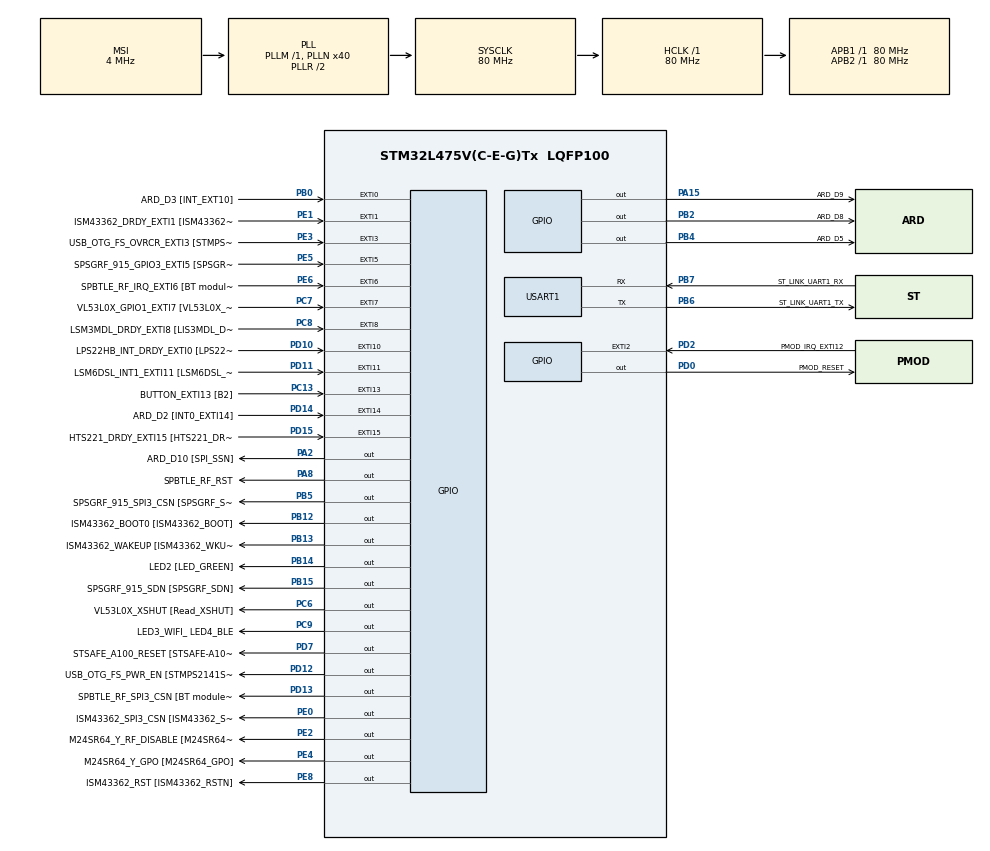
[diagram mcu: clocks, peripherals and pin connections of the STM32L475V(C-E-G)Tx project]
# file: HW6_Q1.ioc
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ADC1.Channel-0\#ChannelRegularConversion=ADC_CHANNEL_TEMPSENSOR
ADC1.ExternalTrigConv=ADC_EXTERNALTRIG_T1_TRGO
ADC1.NbrOfConversionFlag=1
ADC1.OffsetNumber-0\#ChannelRegularConversion=ADC_OFFSET_NONE
ADC1.Rank-0\#ChannelRegularConversion=1
ADC1.SamplingTime-0\#ChannelRegularConversion=ADC_SAMPLETIME_640CYCLES_5
ADC1.master=1
FREERTOS.Tasks01=defaultTask,24,512,StartDefaultTask,Default,NULL,Dynamic,NULL,NULL
FREERTOS.configUSE_NEWLIB_REENTRANT=1
Mcu.Family=STM32L4
Mcu.Name=STM32L475V(C-E-G)Tx
Mcu.Package=LQFP100
NVIC.ADC1_2_IRQn=true\:5\:0\:false\:false\:true\:true\:true\:true\:true
NVIC.EXTI15_10_IRQn=true\:5\:0\:false\:false\:true\:true\:true\:true\:true
NVIC.EXTI9_5_IRQn=true\:5\:0\:false\:false\:true\:true\:true\:true\:true
NVIC.PriorityGroup=NVIC_PRIORITYGROUP_4
NVIC.TIM6_DAC_IRQn=true\:15\:0\:false\:false\:true\:false\:false\:true\:true
NVIC.TimeBase=TIM6_DAC_IRQn
NVIC.TimeBaseIP=TIM6
PA0.GPIO_Label=ARD_D1 [UART4_TX]
PA0.Signal=UART4_TX
PA1.GPIO_Label=ARD_D0 [UART4_RX]
PA1.Signal=UART4_RX
PA10.GPIO_Label=USB_OTG_FS_ID
PA10.Signal=USB_OTG_FS_ID
PA11.GPIO_Label=USB_OTG_FS_DM
PA11.Signal=USB_OTG_FS_DM
PA12.GPIO_Label=USB_OTG_FS_DP
PA12.Signal=USB_OTG_FS_DP
PA13\ (JTMS-SWDIO).GPIO_Label=SYS_JTMS_SWDIO
PA13\ (JTMS-SWDIO).Mode=Serial_Wire
PA13\ (JTMS-SWDIO).Signal=SYS_JTMS-SWDIO
PA14\ (JTCK-SWCLK).GPIO_Label=SYS_JTCK_SWCLK
PA14\ (JTCK-SWCLK).Mode=Serial_Wire
PA14\ (JTCK-SWCLK).Signal=SYS_JTCK-SWCLK
PA15\ (JTDI).GPIO_Label=ARD_D9
PA15\ (JTDI).Signal=GPIO_Output
PA2.GPIO_Label=ARD_D10 [SPI_SSN]
PA2.Signal=GPIO_Output
PA3.GPIO_Label=ARD_D4
PA3.Signal=S_TIM2_CH4
PA4.GPIO_Label=ARD_D7
PA4.Signal=ADCx_IN9
PA5.GPIO_Label=ARD_D13 [SPI1_SCK]
PA5.Signal=SPI1_SCK
PA6.GPIO_Label=ARD_D12 [SPI1_MISO]
PA6.Signal=SPI1_MISO
PA7.GPIO_Label=ARD_D11 [SPI1_MOSI]
PA7.Signal=SPI1_MOSI
PA8.GPIO_Label=SPBTLE_RF_RST
PA8.Signal=GPIO_Output
PA9.GPIO_Label=USB_OTG_FS_VBUS [STMPS2141STR_OUT]
PA9.Signal=USB_OTG_FS_VBUS
PB0.GPIO_Label=ARD_D3 [INT_EXT10]
PB0.Signal=GPXTI0
PB1.GPIO_Label=ARD_D6 [ADC1_IN6]
PB1.Signal=ADCx_IN16
PB10.GPIO_Label=INTERNAL_I2C2_SCL [VL53L0X_SCL]
PB10.Signal=I2C2_SCL
PB11.GPIO_Label=INTERNAL_I2C2_SDA [VL53L0X_SDA]
PB11.Signal=I2C2_SDA
PB12.GPIO_Label=ISM43362_BOOT0 [ISM43362_BOOT]
PB12.Signal=GPIO_Output
PB13.GPIO_Label=ISM43362_WAKEUP [ISM43362_WKUP]
PB13.Signal=GPIO_Output
PB14.GPIO_Label=LED2 [LED_GREEN]
PB14.Signal=GPIO_Output
PB15.GPIO_Label=SPSGRF_915_SDN [SPSGRF_SDN]
PB15.Signal=GPIO_Output
PB2.GPIO_Label=ARD_D8
PB2.Signal=GPIO_Output
PB3\ (JTDO-TRACESWO).GPIO_Label=SYS_JTD0_SWO
PB3\ (JTDO-TRACESWO).Signal=SYS_JTDO-SWO
PB4\ (NJTRST).GPIO_Label=ARD_D5
PB4\ (NJTRST).Signal=GPIO_Output
PB5.GPIO_Label=SPSGRF_915_SPI3_CSN [SPSGRF_SPI_CS]
PB5.PinState=GPIO_PIN_SET
PB5.Signal=GPIO_Output
PB6.GPIO_Label=ST_LINK_UART1_TX
PB6.Mode=Asynchronous
PB6.Signal=USART1_TX
PB7.GPIO_Label=ST_LINK_UART1_RX
PB7.Mode=Asynchronous
PB7.Signal=USART1_RX
PB8.GPIO_Label=ARD_D15 [I2C1_SCL]
PB8.Signal=I2C1_SCL
PB9.GPIO_Label=ARD_D14 [I2C1_SDA]
PB9.Signal=I2C1_SDA
PC0.GPIO_Label=ARD_A5 [ADC]
PC0.Signal=ADCx_IN1
PC1.GPIO_Label=ARD_A4 [ADC]
PC1.Signal=ADCx_IN2
PC10.GPIO_Label=INTERNAL_SPI3_SCK [BT module_SPI_SCLK] [ISM43362_SCK]
PC10.Signal=SPI3_SCK
PC11.GPIO_Label=INTERNAL_SPI3_MISO [BT module_SPI_MISO] [ISM43362_MISO]
PC11.Signal=SPI3_MISO
PC12.GPIO_Label=INTERNAL_SPI3_MOSI [BT module_SPI_MOSI] [ISM43362_MOSI]
PC12.Signal=SPI3_MOSI
PC13.GPIO_Label=BUTTON_EXTI13 [B2]
PC13.GPIO_ModeDefaultEXTI=GPIO_MODE_IT_FALLING
PC13.Signal=GPXTI13
PC14-OSC32_IN\ (PC14).Signal=RCC_OSC32_IN
PC15-OSC32_OUT\ (PC15).Signal=RCC_OSC32_OUT
PC2.GPIO_Label=ARD_A3 [ADC]
PC2.Signal=ADCx_IN3
PC3.GPIO_Label=ARD_A2 [ADC]
PC3.Signal=ADCx_IN4
PC4.GPIO_Label=ARD_A1 [ADC]
PC4.Signal=ADCx_IN13
PC5.GPIO_Label=ARD_A0 [ADC]
PC5.Signal=ADCx_IN14
PC6.GPIO_Label=VL53L0X_XSHUT [Read_XSHUT]
PC6.Signal=GPIO_Output
PC7.GPIO_Label=VL53L0X_GPIO1_EXTI7 [VL53L0X_GPIO1]
PC7.Signal=GPXTI7
PC8.GPIO_Label=LSM3MDL_DRDY_EXTI8 [LIS3MDL_DRDY]
PC8.Signal=GPXTI8
PC9.GPIO_Label=LED3_WIFI_ LED4_BLE
PC9.Signal=GPIO_Output
PD0.GPIO_Label=PMOD_RESET
PD0.Signal=GPIO_Output
PD1.GPIO_Label=PMOD_SPI2_SCK
PD1.Signal=SPI2_SCK
PD10.GPIO_Label=LPS22HB_INT_DRDY_EXTI0 [LPS22HB_INT_DRDY] 
PD10.Signal=GPXTI10
PD11.GPIO_Label=LSM6DSL_INT1_EXTI11 [LSM6DSL_INT1]
PD11.Signal=GPXTI11
PD12.GPIO_Label=USB_OTG_FS_PWR_EN [STMPS2141STR_EN]
PD12.Signal=GPIO_Output
PD13.GPIO_Label=SPBTLE_RF_SPI3_CSN [BT module_SPI_CS]
PD13.PinState=GPIO_PIN_SET
PD13.Signal=GPIO_Output
PD14.GPIO_Label=ARD_D2 [INT0_EXTI14]
PD14.Signal=GPXTI14
PD15.GPIO_Label=HTS221_DRDY_EXTI15 [HTS221_DRDY]
PD15.Signal=GPXTI15
PD2.GPIO_Label=PMOD_IRQ_EXTI12
PD2.Signal=GPXTI2
PD3.GPIO_Label=PMOD_UART2_CTS
PD3.Signal=USART2_CTS
PD4.GPIO_Label=PMOD_UART2_RTS
PD4.Signal=USART2_RTS
PD5.GPIO_Label=PMOD_UART2_TX
PD5.Signal=USART2_TX
PD6.GPIO_Label=PMOD_UART2_RX
PD6.Signal=USART2_RX
PD7.GPIO_Label=STSAFE_A100_RESET [STSAFE-A100_RESET]
PD7.Signal=GPIO_Output
PD8.GPIO_Label=INTERNAL_UART3_TX [ISM43362_RX]
PD8.Signal=USART3_TX
PD9.GPIO_Label=INTERNAL_UART3_RX [ISM43362_TX]
PD9.Signal=USART3_RX
PE0.GPIO_Label=ISM43362_SPI3_CSN [ISM43362_SSN]
PE0.PinState=GPIO_PIN_SET
PE0.Signal=GPIO_Output
PE1.GPIO_Label=ISM43362_DRDY_EXTI1 [ISM43362_DATARDY]
PE1.Signal=GPXTI1
PE10.GPIO_Label=QUADSPI_CLK [MX25R6435F_SCLK]
PE10.Signal=QUADSPI_CLK
PE11.GPIO_Label=QUADSPI_NCS [MX25R6435F_SCLK]
PE11.Signal=QUADSPI_NCS
PE12.GPIO_Label=OQUADSPI_BK1_IO0 [MX25R6435F_IO0]
PE12.Signal=QUADSPI_BK1_IO0
PE13.GPIO_Label=QUADSPI_BK1_IO1 [MX25R6435F_IO1]
PE13.Signal=QUADSPI_BK1_IO1
PE14.GPIO_Label=QUAD_SPI_BK1_IO2 [MX25R6435F_IO2]
PE14.Signal=QUADSPI_BK1_IO2
PE15.GPIO_Label=QUAD_SPI_BK1_IO3 [MX25R6435F_IO3]
PE15.Signal=QUADSPI_BK1_IO3
PE2.GPIO_Label=M24SR64_Y_RF_DISABLE [M24SR64_RFDIS]
PE2.Signal=GPIO_Output
PE3.GPIO_Label=USB_OTG_FS_OVRCR_EXTI3 [STMPS2141STR_FAULT]
PE3.Signal=GPXTI3
PE4.GPIO_Label=M24SR64_Y_GPO [M24SR64_GPO]
PE4.Signal=GPIO_Output
PE5.GPIO_Label=SPSGRF_915_GPIO3_EXTI5 [SPSGRF_GPIO_3]
PE5.Signal=GPXTI5
PE6.GPIO_Label=SPBTLE_RF_IRQ_EXTI6 [BT module_SPI_IRQ]
PE6.Signal=GPXTI6
PE7.GPIO_Label=DFSDM1_DATIN2 [MP34DT01_DOUT]
PE7.Signal=S_DATAIN2DFSDM1
PE8.GPIO_Label=ISM43362_RST [ISM43362_RSTN]
PE8.Signal=GPIO_Output
PE9.GPIO_Label=DFSDM1_CKOUT [MP34DT01_CLK]
PE9.Signal=S_CKOUTDFSDM1
ProjectManager.HeapSize=0x200
ProjectManager.StackSize=0x400
ProjectManager.TargetToolchain=STM32CubeIDE
RCC.ADCFreq_Value=48000000
RCC.AHBFreq_Value=80000000
RCC.APB1Freq_Value=80000000
RCC.APB1TimFreq_Value=80000000
RCC.APB2Freq_Value=80000000
RCC.APB2TimFreq_Value=80000000
RCC.CortexFreq_Value=80000000
RCC.HCLKFreq_Value=80000000
RCC.HSE_VALUE=8000000
RCC.HSI_VALUE=16000000
RCC.LSE_VALUE=32768
RCC.MSI_VALUE=4000000
RCC.PLLN=40
RCC.PLLSAI1N=24
RCC.SYSCLKFreq_VALUE=80000000
RCC.SYSCLKSource=RCC_SYSCLKSOURCE_PLLCLK
RCC.USBFreq_Value=48000000
RCC.VCOOutputFreq_Value=160000000
SH.ADCx_IN1.0=ADC1_IN1
SH.ADCx_IN13.0=ADC1_IN13
SH.ADCx_IN14.0=ADC1_IN14
SH.ADCx_IN16.0=ADC1_IN16
SH.ADCx_IN2.0=ADC1_IN2
SH.ADCx_IN3.0=ADC1_IN3
SH.ADCx_IN4.0=ADC1_IN4
SH.ADCx_IN9.0=ADC1_IN9
SH.S_CKOUTDFSDM1.0=DFSDM1_CKOUT
SH.S_DATAIN2DFSDM1.0=DFSDM1_DATIN2
SH.S_TIM2_CH4.0=TIM2_CH4
TIM1.Period=9999
TIM1.Prescaler=7999
TIM1.TIM_MasterOutputTrigger=TIM_TRGO_UPDATE
USART1.VirtualMode-Asynchronous=VM_ASYNC
VP_ADC1_TempSens_Input.Mode=IN-TempSens
VP_FREERTOS_VS_CMSIS_V2.Mode=CMSIS_V2
VP_SYS_VS_tim6.Mode=TIM6
VP_TIM1_VS_ClockSourceINT.Mode=Internal
board=B-L475E-IOT01A1

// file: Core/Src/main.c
/* USER CODE BEGIN Header */
/**
  ******************************************************************************
  * @file           : main.c
  * @brief          : Main program body
  ******************************************************************************
  * @attention
  *
  * Copyright (c) 2026 STMicroelectronics.
  * All rights reserved.
  *
  * This software is licensed under terms that can be found in the LICENSE file
  * in the root directory of this software component.
  * If no LICENSE file comes with this software, it is provided AS-IS.
  *
  ******************************************************************************
  */
/* USER CODE END Header */
#include "main.h"
#include "cmsis_os.h"

/* USER CODE BEGIN Includes */
#include <stdio.h>
/* USER CODE END Includes */

/* USER CODE BEGIN PD */
#define VDDA_MV   3300U   /* 板子上 VDDA = 3.3 V（ADC 的參考電壓） */
/* USER CODE END PD */

ADC_HandleTypeDef hadc1;

TIM_HandleTypeDef htim1;

UART_HandleTypeDef huart1;

/* Definitions for defaultTask */
osThreadId_t defaultTaskHandle;
const osThreadAttr_t defaultTask_attributes = {
  .name = "defaultTask",
  .stack_size = 512 * 4,
  .priority = (osPriority_t) osPriorityNormal,
};
/* USER CODE BEGIN PV */
volatile uint16_t adc_raw = 0;      /* ISR 寫入、task 讀取 → 一定要 volatile */
volatile uint32_t adc_isr_cnt = 0;  /* 進 ADC 中斷的次數，用來證明每次觸發都有中斷 */
/* USER CODE END PV */

void SystemClock_Config(void);
static void MX_GPIO_Init(void);
static void MX_ADC1_Init(void);
static void MX_TIM1_Init(void);
static void MX_USART1_UART_Init(void);
void StartDefaultTask(void *argument);

/* USER CODE BEGIN 0 */
/* printf 導向 USART1（PB6/PB7 → ST-LINK 虛擬序列埠 → Mac 的 /dev/cu.usbmodem103）
 * syscalls.c 裡的 _write() 會一個字元一個字元呼叫這個函式 */
int __io_putchar(int ch)
{
  HAL_UART_Transmit(&huart1, (uint8_t *)&ch, 1, HAL_MAX_DELAY);
  return ch;
}
/* USER CODE END 0 */

int main(void)
{

  /* MCU Configuration--------------------------------------------------------*/

  /* Reset of all peripherals, Initializes the Flash interface and the Systick. */
  HAL_Init();

  /* Configure the system clock */
  SystemClock_Config();

  /* Initialize all configured peripherals */
  MX_GPIO_Init();
  MX_ADC1_Init();
  MX_TIM1_Init();
  MX_USART1_UART_Init();

  /* Init scheduler */
  osKernelInitialize();

  /* Create the thread(s) */
  /* creation of defaultTask */
  defaultTaskHandle = osThreadNew(StartDefaultTask, NULL, &defaultTask_attributes);

  /* Start scheduler */
  osKernelStart();

  /* We should never get here as control is now taken by the scheduler */

  /* Infinite loop */
  while (1)
  {

  }
}

void SystemClock_Config(void)
{
  RCC_OscInitTypeDef RCC_OscInitStruct = {0};
  RCC_ClkInitTypeDef RCC_ClkInitStruct = {0};

  /** Configure the main internal regulator output voltage
  */
  if (HAL_PWREx_ControlVoltageScaling(PWR_REGULATOR_VOLTAGE_SCALE1) != HAL_OK)
  {
    Error_Handler();
  }

  /** Initializes the RCC Oscillators according to the specified parameters
  * in the RCC_OscInitTypeDef structure.
  */
  RCC_OscInitStruct.OscillatorType = RCC_OSCILLATORTYPE_MSI;
  RCC_OscInitStruct.MSIState = RCC_MSI_ON;
  RCC_OscInitStruct.MSICalibrationValue = 0;
  RCC_OscInitStruct.MSIClockRange = RCC_MSIRANGE_6;
  RCC_OscInitStruct.PLL.PLLState = RCC_PLL_ON;
  RCC_OscInitStruct.PLL.PLLSource = RCC_PLLSOURCE_MSI;
  RCC_OscInitStruct.PLL.PLLM = 1;
  RCC_OscInitStruct.PLL.PLLN = 40;
  RCC_OscInitStruct.PLL.PLLP = RCC_PLLP_DIV7;
  RCC_OscInitStruct.PLL.PLLQ = RCC_PLLQ_DIV2;
  RCC_OscInitStruct.PLL.PLLR = RCC_PLLR_DIV2;
  if (HAL_RCC_OscConfig(&RCC_OscInitStruct) != HAL_OK)
  {
    Error_Handler();
  }

  /** Initializes the CPU, AHB and APB buses clocks
  */
  RCC_ClkInitStruct.ClockType = RCC_CLOCKTYPE_HCLK|RCC_CLOCKTYPE_SYSCLK
                              |RCC_CLOCKTYPE_PCLK1|RCC_CLOCKTYPE_PCLK2;
  RCC_ClkInitStruct.SYSCLKSource = RCC_SYSCLKSOURCE_PLLCLK;
  RCC_ClkInitStruct.AHBCLKDivider = RCC_SYSCLK_DIV1;
  RCC_ClkInitStruct.APB1CLKDivider = RCC_HCLK_DIV1;
  RCC_ClkInitStruct.APB2CLKDivider = RCC_HCLK_DIV1;

  if (HAL_RCC_ClockConfig(&RCC_ClkInitStruct, FLASH_LATENCY_4) != HAL_OK)
  {
    Error_Handler();
  }
}

static void MX_ADC1_Init(void)
{

  ADC_MultiModeTypeDef multimode = {0};
  ADC_ChannelConfTypeDef sConfig = {0};

  /** Common config
  */
  hadc1.Instance = ADC1;
  hadc1.Init.ClockPrescaler = ADC_CLOCK_ASYNC_DIV1;
  hadc1.Init.Resolution = ADC_RESOLUTION_12B;
  hadc1.Init.DataAlign = ADC_DATAALIGN_RIGHT;
  hadc1.Init.ScanConvMode = ADC_SCAN_DISABLE;
  hadc1.Init.EOCSelection = ADC_EOC_SINGLE_CONV;
  hadc1.Init.LowPowerAutoWait = DISABLE;
  hadc1.Init.ContinuousConvMode = DISABLE;
  hadc1.Init.NbrOfConversion = 1;
  hadc1.Init.DiscontinuousConvMode = DISABLE;
  hadc1.Init.ExternalTrigConv = ADC_EXTERNALTRIG_T1_TRGO;
  hadc1.Init.ExternalTrigConvEdge = ADC_EXTERNALTRIGCONVEDGE_RISING;
  hadc1.Init.DMAContinuousRequests = DISABLE;
  hadc1.Init.Overrun = ADC_OVR_DATA_PRESERVED;
  hadc1.Init.OversamplingMode = DISABLE;
  if (HAL_ADC_Init(&hadc1) != HAL_OK)
  {
    Error_Handler();
  }

  /** Configure the ADC multi-mode
  */
  multimode.Mode = ADC_MODE_INDEPENDENT;
  if (HAL_ADCEx_MultiModeConfigChannel(&hadc1, &multimode) != HAL_OK)
  {
    Error_Handler();
  }

  /** Configure Regular Channel
  */
  sConfig.Channel = ADC_CHANNEL_TEMPSENSOR;
  sConfig.Rank = ADC_REGULAR_RANK_1;
  sConfig.SamplingTime = ADC_SAMPLETIME_640CYCLES_5;
  sConfig.SingleDiff = ADC_SINGLE_ENDED;
  sConfig.OffsetNumber = ADC_OFFSET_NONE;
  sConfig.Offset = 0;
  if (HAL_ADC_ConfigChannel(&hadc1, &sConfig) != HAL_OK)
  {
    Error_Handler();
  }

}

static void MX_TIM1_Init(void)
{

  TIM_ClockConfigTypeDef sClockSourceConfig = {0};
  TIM_MasterConfigTypeDef sMasterConfig = {0};

  htim1.Instance = TIM1;
  htim1.Init.Prescaler = 7999;
  htim1.Init.CounterMode = TIM_COUNTERMODE_UP;
  htim1.Init.Period = 9999;
  htim1.Init.ClockDivision = TIM_CLOCKDIVISION_DIV1;
  htim1.Init.RepetitionCounter = 0;
  htim1.Init.AutoReloadPreload = TIM_AUTORELOAD_PRELOAD_DISABLE;
  if (HAL_TIM_Base_Init(&htim1) != HAL_OK)
  {
    Error_Handler();
  }
  sClockSourceConfig.ClockSource = TIM_CLOCKSOURCE_INTERNAL;
  if (HAL_TIM_ConfigClockSource(&htim1, &sClockSourceConfig) != HAL_OK)
  {
    Error_Handler();
  }
  sMasterConfig.MasterOutputTrigger = TIM_TRGO_UPDATE;
  sMasterConfig.MasterOutputTrigger2 = TIM_TRGO2_RESET;
  sMasterConfig.MasterSlaveMode = TIM_MASTERSLAVEMODE_DISABLE;
  if (HAL_TIMEx_MasterConfigSynchronization(&htim1, &sMasterConfig) != HAL_OK)
  {
    Error_Handler();
  }

}

static void MX_USART1_UART_Init(void)
{

  huart1.Instance = USART1;
  huart1.Init.BaudRate = 115200;
  huart1.Init.WordLength = UART_WORDLENGTH_8B;
  huart1.Init.StopBits = UART_STOPBITS_1;
  huart1.Init.Parity = UART_PARITY_NONE;
  huart1.Init.Mode = UART_MODE_TX_RX;
  huart1.Init.HwFlowCtl = UART_HWCONTROL_NONE;
  huart1.Init.OverSampling = UART_OVERSAMPLING_16;
  huart1.Init.OneBitSampling = UART_ONE_BIT_SAMPLE_DISABLE;
  huart1.AdvancedInit.AdvFeatureInit = UART_ADVFEATURE_NO_INIT;
  if (HAL_UART_Init(&huart1) != HAL_OK)
  {
    Error_Handler();
  }

}

static void MX_GPIO_Init(void)
{
  GPIO_InitTypeDef GPIO_InitStruct = {0};

  /* GPIO Ports Clock Enable */
  __HAL_RCC_GPIOE_CLK_ENABLE();
  __HAL_RCC_GPIOC_CLK_ENABLE();
  __HAL_RCC_GPIOA_CLK_ENABLE();
  __HAL_RCC_GPIOB_CLK_ENABLE();
  __HAL_RCC_GPIOD_CLK_ENABLE();

  /*Configure GPIO pin Output Level */
  HAL_GPIO_WritePin(GPIOE, M24SR64_Y_RF_DISABLE_Pin|M24SR64_Y_GPO_Pin|ISM43362_RST_Pin, GPIO_PIN_RESET);

  /*Configure GPIO pin Output Level */
  HAL_GPIO_WritePin(GPIOA, ARD_D10_Pin|SPBTLE_RF_RST_Pin|ARD_D9_Pin, GPIO_PIN_RESET);

  /*Configure GPIO pin Output Level */
  HAL_GPIO_WritePin(GPIOB, ARD_D8_Pin|ISM43362_BOOT0_Pin|ISM43362_WAKEUP_Pin|LED2_Pin
                          |SPSGRF_915_SDN_Pin|ARD_D5_Pin, GPIO_PIN_RESET);

  /*Configure GPIO pin Output Level */
  HAL_GPIO_WritePin(GPIOD, USB_OTG_FS_PWR_EN_Pin|PMOD_RESET_Pin|STSAFE_A100_RESET_Pin, GPIO_PIN_RESET);

  /*Configure GPIO pin Output Level */
  HAL_GPIO_WritePin(SPBTLE_RF_SPI3_CSN_GPIO_Port, SPBTLE_RF_SPI3_CSN_Pin, GPIO_PIN_SET);

  /*Configure GPIO pin Output Level */
  HAL_GPIO_WritePin(GPIOC, VL53L0X_XSHUT_Pin|LED3_WIFI__LED4_BLE_Pin, GPIO_PIN_RESET);

  /*Configure GPIO pin Output Level */
  HAL_GPIO_WritePin(SPSGRF_915_SPI3_CSN_GPIO_Port, SPSGRF_915_SPI3_CSN_Pin, GPIO_PIN_SET);

  /*Configure GPIO pin Output Level */
  HAL_GPIO_WritePin(ISM43362_SPI3_CSN_GPIO_Port, ISM43362_SPI3_CSN_Pin, GPIO_PIN_SET);

  /*Configure GPIO pins : M24SR64_Y_RF_DISABLE_Pin M24SR64_Y_GPO_Pin ISM43362_RST_Pin ISM43362_SPI3_CSN_Pin */
  GPIO_InitStruct.Pin = M24SR64_Y_RF_DISABLE_Pin|M24SR64_Y_GPO_Pin|ISM43362_RST_Pin|ISM43362_SPI3_CSN_Pin;
  GPIO_InitStruct.Mode = GPIO_MODE_OUTPUT_PP;
  GPIO_InitStruct.Pull = GPIO_NOPULL;
  GPIO_InitStruct.Speed = GPIO_SPEED_FREQ_LOW;
  HAL_GPIO_Init(GPIOE, &GPIO_InitStruct);

  /*Configure GPIO pins : USB_OTG_FS_OVRCR_EXTI3_Pin SPSGRF_915_GPIO3_EXTI5_Pin SPBTLE_RF_IRQ_EXTI6_Pin ISM43362_DRDY_EXTI1_Pin */
  GPIO_InitStruct.Pin = USB_OTG_FS_OVRCR_EXTI3_Pin|SPSGRF_915_GPIO3_EXTI5_Pin|SPBTLE_RF_IRQ_EXTI6_Pin|ISM43362_DRDY_EXTI1_Pin;
  GPIO_InitStruct.Mode = GPIO_MODE_IT_RISING;
  GPIO_InitStruct.Pull = GPIO_NOPULL;
  HAL_GPIO_Init(GPIOE, &GPIO_InitStruct);

  /*Configure GPIO pin : BUTTON_EXTI13_Pin */
  GPIO_InitStruct.Pin = BUTTON_EXTI13_Pin;
  GPIO_InitStruct.Mode = GPIO_MODE_IT_FALLING;
  GPIO_InitStruct.Pull = GPIO_NOPULL;
  HAL_GPIO_Init(BUTTON_EXTI13_GPIO_Port, &GPIO_InitStruct);

  /*Configure GPIO pins : ARD_D1_Pin ARD_D0_Pin */
  GPIO_InitStruct.Pin = ARD_D1_Pin|ARD_D0_Pin;
  GPIO_InitStruct.Mode = GPIO_MODE_AF_PP;
  GPIO_InitStruct.Pull = GPIO_NOPULL;
  GPIO_InitStruct.Speed = GPIO_SPEED_FREQ_VERY_HIGH;
  GPIO_InitStruct.Alternate = GPIO_AF8_UART4;
  HAL_GPIO_Init(GPIOA, &GPIO_InitStruct);

  /*Configure GPIO pins : ARD_D10_Pin SPBTLE_RF_RST_Pin ARD_D9_Pin */
  GPIO_InitStruct.Pin = ARD_D10_Pin|SPBTLE_RF_RST_Pin|ARD_D9_Pin;
  GPIO_InitStruct.Mode = GPIO_MODE_OUTPUT_PP;
  GPIO_InitStruct.Pull = GPIO_NOPULL;
  GPIO_InitStruct.Speed = GPIO_SPEED_FREQ_LOW;
  HAL_GPIO_Init(GPIOA, &GPIO_InitStruct);

  /*Configure GPIO pin : ARD_D4_Pin */
  GPIO_InitStruct.Pin = ARD_D4_Pin;
  GPIO_InitStruct.Mode = GPIO_MODE_AF_PP;
  GPIO_InitStruct.Pull = GPIO_NOPULL;
  GPIO_InitStruct.Speed = GPIO_SPEED_FREQ_LOW;
  GPIO_InitStruct.Alternate = GPIO_AF1_TIM2;
  HAL_GPIO_Init(ARD_D4_GPIO_Port, &GPIO_InitStruct);

  /*Configure GPIO pins : ARD_D13_Pin ARD_D12_Pin ARD_D11_Pin */
  GPIO_InitStruct.Pin = ARD_D13_Pin|ARD_D12_Pin|ARD_D11_Pin;
  GPIO_InitStruct.Mode = GPIO_MODE_AF_PP;
  GPIO_InitStruct.Pull = GPIO_NOPULL;
  GPIO_InitStruct.Speed = GPIO_SPEED_FREQ_VERY_HIGH;
  GPIO_InitStruct.Alternate = GPIO_AF5_SPI1;
  HAL_GPIO_Init(GPIOA, &GPIO_InitStruct);

  /*Configure GPIO pin : ARD_D3_Pin */
  GPIO_InitStruct.Pin = ARD_D3_Pin;
  GPIO_InitStruct.Mode = GPIO_MODE_IT_RISING;
  GPIO_InitStruct.Pull = GPIO_NOPULL;
  HAL_GPIO_Init(ARD_D3_GPIO_Port, &GPIO_InitStruct);

  /*Configure GPIO pins : ARD_D8_Pin ISM43362_BOOT0_Pin ISM43362_WAKEUP_Pin LED2_Pin
                           SPSGRF_915_SDN_Pin ARD_D5_Pin SPSGRF_915_SPI3_CSN_Pin */
  GPIO_InitStruct.Pin = ARD_D8_Pin|ISM43362_BOOT0_Pin|ISM43362_WAKEUP_Pin|LED2_Pin
                          |SPSGRF_915_SDN_Pin|ARD_D5_Pin|SPSGRF_915_SPI3_CSN_Pin;
  GPIO_InitStruct.Mode = GPIO_MODE_OUTPUT_PP;
  GPIO_InitStruct.Pull = GPIO_NOPULL;
  GPIO_InitStruct.Speed = GPIO_SPEED_FREQ_LOW;
  HAL_GPIO_Init(GPIOB, &GPIO_InitStruct);

  /*Configure GPIO pins : DFSDM1_DATIN2_Pin DFSDM1_CKOUT_Pin */
  GPIO_InitStruct.Pin = DFSDM1_DATIN2_Pin|DFSDM1_CKOUT_Pin;
  GPIO_InitStruct.Mode = GPIO_MODE_AF_PP;
  GPIO_InitStruct.Pull = GPIO_NOPULL;
  GPIO_InitStruct.Speed = GPIO_SPEED_FREQ_LOW;
  GPIO_InitStruct.Alternate = GPIO_AF6_DFSDM1;
  HAL_GPIO_Init(GPIOE, &GPIO_InitStruct);

  /*Configure GPIO pins : QUADSPI_CLK_Pin QUADSPI_NCS_Pin OQUADSPI_BK1_IO0_Pin QUADSPI_BK1_IO1_Pin
                           QUAD_SPI_BK1_IO2_Pin QUAD_SPI_BK1_IO3_Pin */
  GPIO_InitStruct.Pin = QUADSPI_CLK_Pin|QUADSPI_NCS_Pin|OQUADSPI_BK1_IO0_Pin|QUADSPI_BK1_IO1_Pin
                          |QUAD_SPI_BK1_IO2_Pin|QUAD_SPI_BK1_IO3_Pin;
  GPIO_InitStruct.Mode = GPIO_MODE_AF_PP;
  GPIO_InitStruct.Pull = GPIO_NOPULL;
  GPIO_InitStruct.Speed = GPIO_SPEED_FREQ_VERY_HIGH;
  GPIO_InitStruct.Alternate = GPIO_AF10_QUADSPI;
  HAL_GPIO_Init(GPIOE, &GPIO_InitStruct);

  /*Configure GPIO pins : INTERNAL_I2C2_SCL_Pin INTERNAL_I2C2_SDA_Pin */
  GPIO_InitStruct.Pin = INTERNAL_I2C2_SCL_Pin|INTERNAL_I2C2_SDA_Pin;
  GPIO_InitStruct.Mode = GPIO_MODE_AF_OD;
  GPIO_InitStruct.Pull = GPIO_NOPULL;
  GPIO_InitStruct.Speed = GPIO_SPEED_FREQ_VERY_HIGH;
  GPIO_InitStruct.Alternate = GPIO_AF4_I2C2;
  HAL_GPIO_Init(GPIOB, &GPIO_InitStruct);

  /*Configure GPIO pins : INTERNAL_UART3_TX_Pin INTERNAL_UART3_RX_Pin */
  GPIO_InitStruct.Pin = INTERNAL_UART3_TX_Pin|INTERNAL_UART3_RX_Pin;
  GPIO_InitStruct.Mode = GPIO_MODE_AF_PP;
  GPIO_InitStruct.Pull = GPIO_NOPULL;
  GPIO_InitStruct.Speed = GPIO_SPEED_FREQ_VERY_HIGH;
  GPIO_InitStruct.Alternate = GPIO_AF7_USART3;
  HAL_GPIO_Init(GPIOD, &GPIO_InitStruct);

  /*Configure GPIO pins : LPS22HB_INT_DRDY_EXTI0_Pin LSM6DSL_INT1_EXTI11_Pin ARD_D2_Pin HTS221_DRDY_EXTI15_Pin
                           PMOD_IRQ_EXTI12_Pin */
  GPIO_InitStruct.Pin = LPS22HB_INT_DRDY_EXTI0_Pin|LSM6DSL_INT1_EXTI11_Pin|ARD_D2_Pin|HTS221_DRDY_EXTI15_Pin
                          |PMOD_IRQ_EXTI12_Pin;
  GPIO_InitStruct.Mode = GPIO_MODE_IT_RISING;
  GPIO_InitStruct.Pull = GPIO_NOPULL;
  HAL_GPIO_Init(GPIOD, &GPIO_InitStruct);

  /*Configure GPIO pins : USB_OTG_FS_PWR_EN_Pin SPBTLE_RF_SPI3_CSN_Pin PMOD_RESET_Pin STSAFE_A100_RESET_Pin */
  GPIO_InitStruct.Pin = USB_OTG_FS_PWR_EN_Pin|SPBTLE_RF_SPI3_CSN_Pin|PMOD_RESET_Pin|STSAFE_A100_RESET_Pin;
  GPIO_InitStruct.Mode = GPIO_MODE_OUTPUT_PP;
  GPIO_InitStruct.Pull = GPIO_NOPULL;
  GPIO_InitStruct.Speed = GPIO_SPEED_FREQ_LOW;
  HAL_GPIO_Init(GPIOD, &GPIO_InitStruct);

  /*Configure GPIO pins : VL53L0X_XSHUT_Pin LED3_WIFI__LED4_BLE_Pin */
  GPIO_InitStruct.Pin = VL53L0X_XSHUT_Pin|LED3_WIFI__LED4_BLE_Pin;
  GPIO_InitStruct.Mode = GPIO_MODE_OUTPUT_PP;
  GPIO_InitStruct.Pull = GPIO_NOPULL;
  GPIO_InitStruct.Speed = GPIO_SPEED_FREQ_LOW;
  HAL_GPIO_Init(GPIOC, &GPIO_InitStruct);

  /*Configure GPIO pins : VL53L0X_GPIO1_EXTI7_Pin LSM3MDL_DRDY_EXTI8_Pin */
  GPIO_InitStruct.Pin = VL53L0X_GPIO1_EXTI7_Pin|LSM3MDL_DRDY_EXTI8_Pin;
  GPIO_InitStruct.Mode = GPIO_MODE_IT_RISING;
  GPIO_InitStruct.Pull = GPIO_NOPULL;
  HAL_GPIO_Init(GPIOC, &GPIO_InitStruct);

  /*Configure GPIO pin : USB_OTG_FS_VBUS_Pin */
  GPIO_InitStruct.Pin = USB_OTG_FS_VBUS_Pin;
  GPIO_InitStruct.Mode = GPIO_MODE_INPUT;
  GPIO_InitStruct.Pull = GPIO_NOPULL;
  HAL_GPIO_Init(USB_OTG_FS_VBUS_GPIO_Port, &GPIO_InitStruct);

  /*Configure GPIO pins : USB_OTG_FS_ID_Pin USB_OTG_FS_DM_Pin USB_OTG_FS_DP_Pin */
  GPIO_InitStruct.Pin = USB_OTG_FS_ID_Pin|USB_OTG_FS_DM_Pin|USB_OTG_FS_DP_Pin;
  GPIO_InitStruct.Mode = GPIO_MODE_AF_PP;
  GPIO_InitStruct.Pull = GPIO_NOPULL;
  GPIO_InitStruct.Speed = GPIO_SPEED_FREQ_VERY_HIGH;
  GPIO_InitStruct.Alternate = GPIO_AF10_OTG_FS;
  HAL_GPIO_Init(GPIOA, &GPIO_InitStruct);

  /*Configure GPIO pins : INTERNAL_SPI3_SCK_Pin INTERNAL_SPI3_MISO_Pin INTERNAL_SPI3_MOSI_Pin */
  GPIO_InitStruct.Pin = INTERNAL_SPI3_SCK_Pin|INTERNAL_SPI3_MISO_Pin|INTERNAL_SPI3_MOSI_Pin;
  GPIO_InitStruct.Mode = GPIO_MODE_AF_PP;
  GPIO_InitStruct.Pull = GPIO_NOPULL;
  GPIO_InitStruct.Speed = GPIO_SPEED_FREQ_VERY_HIGH;
  GPIO_InitStruct.Alternate = GPIO_AF6_SPI3;
  HAL_GPIO_Init(GPIOC, &GPIO_InitStruct);

  /*Configure GPIO pin : PMOD_SPI2_SCK_Pin */
  GPIO_InitStruct.Pin = PMOD_SPI2_SCK_Pin;
  GPIO_InitStruct.Mode = GPIO_MODE_AF_PP;
  GPIO_InitStruct.Pull = GPIO_NOPULL;
  GPIO_InitStruct.Speed = GPIO_SPEED_FREQ_VERY_HIGH;
  GPIO_InitStruct.Alternate = GPIO_AF5_SPI2;
  HAL_GPIO_Init(PMOD_SPI2_SCK_GPIO_Port, &GPIO_InitStruct);

  /*Configure GPIO pins : PMOD_UART2_CTS_Pin PMOD_UART2_RTS_Pin PMOD_UART2_TX_Pin PMOD_UART2_RX_Pin */
  GPIO_InitStruct.Pin = PMOD_UART2_CTS_Pin|PMOD_UART2_RTS_Pin|PMOD_UART2_TX_Pin|PMOD_UART2_RX_Pin;
  GPIO_InitStruct.Mode = GPIO_MODE_AF_PP;
  GPIO_InitStruct.Pull = GPIO_NOPULL;
  GPIO_InitStruct.Speed = GPIO_SPEED_FREQ_VERY_HIGH;
  GPIO_InitStruct.Alternate = GPIO_AF7_USART2;
  HAL_GPIO_Init(GPIOD, &GPIO_InitStruct);

  /*Configure GPIO pins : ARD_D15_Pin ARD_D14_Pin */
  GPIO_InitStruct.Pin = ARD_D15_Pin|ARD_D14_Pin;
  GPIO_InitStruct.Mode = GPIO_MODE_AF_OD;
  GPIO_InitStruct.Pull = GPIO_NOPULL;
  GPIO_InitStruct.Speed = GPIO_SPEED_FREQ_VERY_HIGH;
  GPIO_InitStruct.Alternate = GPIO_AF4_I2C1;
  HAL_GPIO_Init(GPIOB, &GPIO_InitStruct);

  /* EXTI interrupt init*/
  HAL_NVIC_SetPriority(EXTI9_5_IRQn, 5, 0);
  HAL_NVIC_EnableIRQ(EXTI9_5_IRQn);

  HAL_NVIC_SetPriority(EXTI15_10_IRQn, 5, 0);
  HAL_NVIC_EnableIRQ(EXTI15_10_IRQn);

}

/* USER CODE BEGIN 4 */
/* ADC 每完成一次轉換（EOC）就會被 HAL_ADC_IRQHandler() 呼叫。
 * 這裡是中斷上下文：只讀值、通知 task，不做 printf 這種慢動作。 */
void HAL_ADC_ConvCpltCallback(ADC_HandleTypeDef *hadc)
{
  if (hadc->Instance == ADC1)
  {
    adc_raw = (uint16_t)HAL_ADC_GetValue(hadc); /* 讀資料暫存器 DR，同時清除 EOC 旗標 */
    adc_isr_cnt++;
    osThreadFlagsSet(defaultTaskHandle, 0x01U); /* 舉旗叫醒 task（CMSIS-RTOS v2 允許在 ISR 呼叫） */
  }
}

/* 原始值 → 溫度（單位 0.01 °C）
 * 出廠時在 Vref+ = 3.0 V 下量了兩點：TS_CAL1 @30 °C、TS_CAL2 @110 °C（L475）
 *   raw' = raw * VDDA / 3000                       （換算回 3.0 V 基準）
 *   T    = (T2 - T1) / (CAL2 - CAL1) * (raw' - CAL1) + T1   （兩點線性內插） */
static int32_t temp_x100(uint16_t raw)
{
  int32_t cal1 = *TEMPSENSOR_CAL1_ADDR;
  int32_t cal2 = *TEMPSENSOR_CAL2_ADDR;
  int64_t num = (int64_t)raw * VDDA_MV - (int64_t)cal1 * TEMPSENSOR_CAL_VREFANALOG;
  int64_t den = (int64_t)(cal2 - cal1) * TEMPSENSOR_CAL_VREFANALOG;
  return (int32_t)(num * (TEMPSENSOR_CAL2_TEMP - TEMPSENSOR_CAL1_TEMP) * 100 / den)
         + TEMPSENSOR_CAL1_TEMP * 100;
}
/* USER CODE END 4 */

void StartDefaultTask(void *argument)
{
  /* USER CODE BEGIN 5 */
  printf("\r\n=== HW6 Q1: TIM1 -> ADC1 (temp sensor) -> IRQ -> RTOS task ===\r\n");
  printf("TS_CAL1=%u (@%ld C)  TS_CAL2=%u (@%ld C)  VDDA=%u mV\r\n",
         (unsigned)*TEMPSENSOR_CAL1_ADDR, (long)TEMPSENSOR_CAL1_TEMP,
         (unsigned)*TEMPSENSOR_CAL2_ADDR, (long)TEMPSENSOR_CAL2_TEMP, VDDA_MV);
  printf("TIM1: 80 MHz / (PSC %lu + 1) / (ARR %lu + 1) = 1 Hz\r\n",
         (unsigned long)htim1.Init.Prescaler, (unsigned long)htim1.Init.Period);

  /* 順序很重要：校正 → ADC 進入「等觸發」→ 才開始送觸發 */
  HAL_ADCEx_Calibration_Start(&hadc1, ADC_SINGLE_ENDED); /* 1. 自我校正（ADC 必須還沒啟動） */
  HAL_ADC_Start_IT(&hadc1);                              /* 2. 啟用 ADC + EOC 中斷，等 TRGO */
  HAL_TIM_Base_Start(&htim1);                            /* 3. TIM1 開始計數，每次溢位送 TRGO */

  uint32_t last = osKernelGetTickCount();
  for(;;)
  {
    /* 沒有資料時 task 在這裡 Blocked，不吃 CPU */
    osThreadFlagsWait(0x01U, osFlagsWaitAny, osWaitForever);

    uint32_t now = osKernelGetTickCount();   /* FreeRTOS tick = 1 ms */
    uint16_t raw = adc_raw;
    int32_t  t   = temp_x100(raw);
    int32_t  a   = (t < 0) ? -t : t;

    printf("#%lu  tick=%lu ms  dt=%lu ms  raw=%u  T=%s%ld.%02ld C\r\n",
           (unsigned long)adc_isr_cnt, (unsigned long)now, (unsigned long)(now - last),
           (unsigned)raw, (t < 0) ? "-" : "", (long)(a / 100), (long)(a % 100));
    last = now;
  }
  /* USER CODE END 5 */
}

void HAL_TIM_PeriodElapsedCallback(TIM_HandleTypeDef *htim)
{
  if (htim->Instance == TIM6)
  {
    HAL_IncTick();
  }
}

void Error_Handler(void)
{
  __disable_irq();
  while (1)
  {
  }
}
